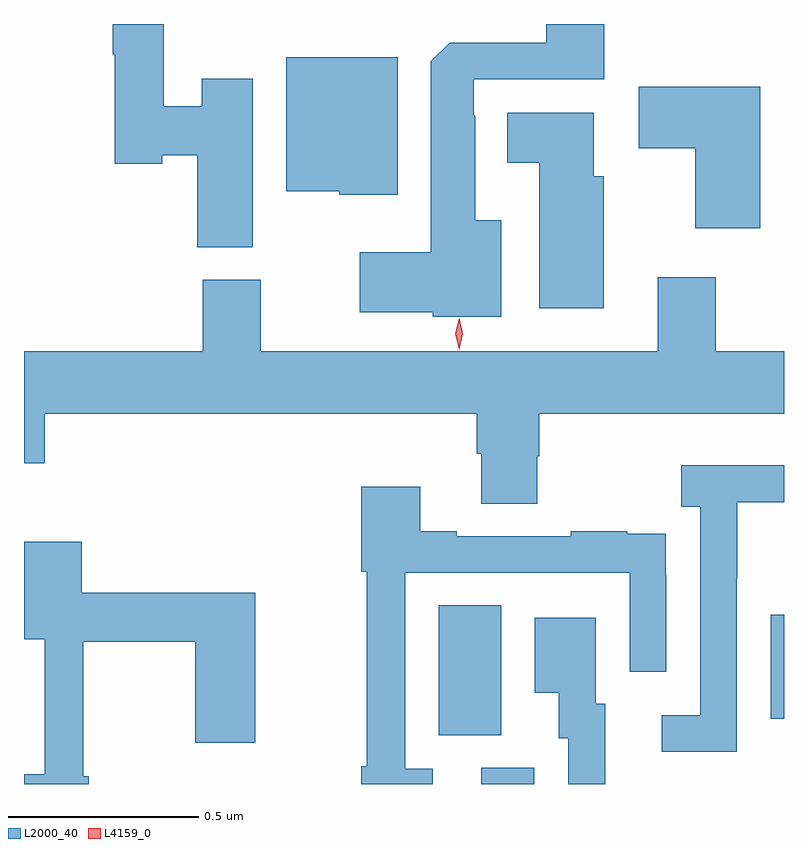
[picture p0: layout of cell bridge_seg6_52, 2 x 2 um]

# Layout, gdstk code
import gdstk
lib = gdstk.Library(unit=1e-6, precision=1e-09)
def R(c, l, rs):  # rectangles x0, y0, x1, y1
    for r in rs: c.add(gdstk.rectangle(r[:2], r[2:], *l))
def P(c, l, *ps):  # polygons
    for p in ps: c.add(gdstk.Polygon(p, *l))
L2000_40 = (2000, 40)
L4159_0 = (4159, 0)

bridge_seg6_52 = lib.new_cell('bridge_seg6_52')
R(bridge_seg6_52, L2000_40, [(1083.179,976.997,1083.319,977.04), (1083.068,977.125,1083.232,977.468), (1083.941,977.169,1083.976,977.443)])
P(bridge_seg6_52, L2000_40, [(1082.578,978.853),(1082.444,978.853),(1082.444,978.781),(1082.344,978.781),(1082.344,978.997),(1082.21,978.997),(1082.21,978.917),(1082.215,978.917),(1082.215,978.629),(1082.34,978.629),(1082.34,978.652),(1082.432,978.652),(1082.432,978.409),(1082.578,978.409)],
  [(1083.232,978.481),(1083.163,978.481),(1083.163,978.755),(1083.159,978.755),(1083.159,978.852),(1083.503,978.852),(1083.503,978.997),(1083.35,978.997),(1083.35,978.948),(1083.096,978.948),(1083.047,978.899),(1083.047,978.397),(1082.859,978.397),(1082.859,978.239),(1083.051,978.239),(1083.051,978.227),(1083.232,978.227)],
  [(1082.959,978.91),(1082.666,978.91),(1082.666,978.557),(1082.805,978.557),(1082.805,978.548),(1082.959,978.548)],
  [(1083.914,978.832),(1083.594,978.832),(1083.594,978.67),(1083.743,978.67),(1083.743,978.459),(1083.914,978.459)],
  [(1083.502,978.597),(1083.475,978.597),(1083.475,978.763),(1083.248,978.763),(1083.248,978.632),(1083.332,978.632),(1083.332,978.249),(1083.502,978.249)],
  [(1083.327,977.859),(1083.332,977.859),(1083.332,977.972),(1083.976,977.972),(1083.976,978.136),(1083.797,978.136),(1083.797,978.331),(1083.644,978.331),(1083.644,978.136),(1082.599,978.136),(1082.599,978.324),(1082.447,978.324),(1082.447,978.136),(1081.976,978.136),(1081.976,977.841),(1082.03,977.841),(1082.03,977.972),(1083.167,977.972),(1083.167,977.866),(1083.179,977.866),(1083.179,977.734),(1083.327,977.734)],
  [(1083.852,977.539),(1083.853,977.539),(1083.853,977.739),(1083.976,977.739),(1083.976,977.836),(1083.705,977.836),(1083.705,977.726),(1083.756,977.726),(1083.756,977.178),(1083.654,977.178),(1083.654,977.082),(1083.852,977.082)],
  [(1083.052,977.037),(1082.979,977.037),(1082.979,977.553),(1083.57,977.553),(1083.57,977.292),(1083.666,977.292),(1083.666,977.546),(1083.665,977.546),(1083.665,977.655),(1083.563,977.655),(1083.563,977.662),(1083.415,977.662),(1083.415,977.649),(1083.115,977.649),(1083.115,977.662),(1083.019,977.662),(1083.019,977.779),(1082.863,977.779),(1082.863,977.556),(1082.878,977.556),(1082.878,977.044),(1082.863,977.044),(1082.863,976.997),(1083.052,976.997)],
  [(1082.147,977.017),(1082.132,977.017),(1082.132,977.371),(1082.426,977.371),(1082.426,977.106),(1082.584,977.106),(1082.584,977.5),(1082.128,977.5),(1082.128,977.635),(1081.976,977.635),(1081.976,977.378),(1082.03,977.378),(1082.03,977.023),(1081.976,977.023),(1081.976,976.997),(1082.147,976.997)],
  [(1083.505,977.208),(1083.481,977.208),(1083.481,977.434),(1083.32,977.434),(1083.32,977.237),(1083.383,977.237),(1083.383,977.118),(1083.408,977.118),(1083.408,976.997),(1083.505,976.997)])
P(bridge_seg6_52, L4159_0, [(1083.121,978.14),(1083.121,978.141),(1083.111,978.182),(1083.121,978.223),(1083.121,978.223),(1083.121,978.223),(1083.131,978.182),(1083.121,978.141)])

lib.write_gds('bridge_seg6_52.gds')
